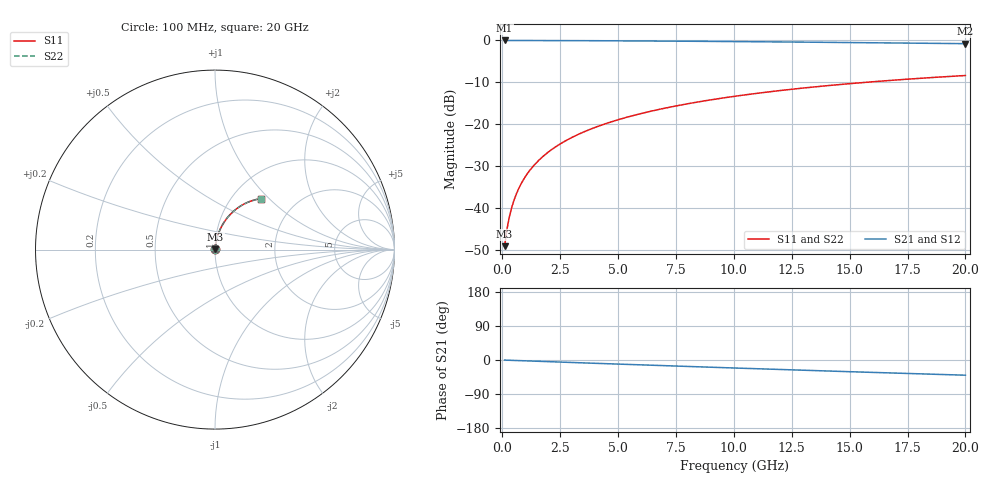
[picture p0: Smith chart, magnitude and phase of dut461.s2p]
! Touchstone file exported from HFSS 2026.1.0
!  File:  C:/ffzhzh/LocalFiles/Ansys_Project_Files/temp_train_BSMRDL_461_1783013486_53980.aedt
!  Generated:  01:32:51 AM Jul  3, 2026
!  Design:  BSMRDL
!  Project:  temp_train_BSMRDL_461_1783013486_53980
! Variables:
!  h_bsmrdl = 5.94um
!  h_ox = 20um
!  h_rdl = 5um
!  h_sub = 80um
!  h_tmrdl = 5um
!  h_tsv = 80um
!  h_via = 3um
!  l_bsmrdl = 592.33um
!  l_sub = 992.33um
!  l_tmrdl = 200um
!  m_sub = 200um
!  pitch = 41.36um
!  r_tsv = 6um
!  s_tmrdl = 10um
!  w_bsmrdl = 14.95um
!  w_sub = 500um
!  w_tmrdl = 12um
!  x_tsv_center1 = 206um
!  x_tsv_center2 = 813.28um
!  x_tsv_center3 = 1025.28um
!  x_tsv_center4 = 1632.56um
!  x_tsv_center5 = 1844.56um
!  x_tsv_center6 = 2451.84um
# GHz S MA R 50.000000
! Terminal data exported
! Port[1] = BSM_RDL1_1_T1
! Port[2] = BSM_RDL1_1_T2
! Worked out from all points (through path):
!   200 points, 100 MHz to 20 GHz, reference 50 ohm
!   highest |S21| = -0.02 dB at 100 MHz (marker M1); lowest = -0.8 dB at 20 GHz (marker M2)
!   group delay of S21, straight-line fit = 5.57 ps
!   lowest |S11| = -49.2 dB at 100 MHz (marker M3), VSWR 1.01, Z = 50.2 + j0.248 ohm
!   |S11| at or under -10 dB: start of sweep to 15.74 GHz
!   |S22| runs from -49.2 to -8.4 dB; largest |S21 - S12| = 2.6e-15
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0.1  0.003482 45.0  0.9975 -0.2  0.9975 -0.2  0.003482 45.0
! Gamma 0 0 0 0
! Port Impedance 50 0 50 0
0.2  0.005503 61.9  0.9974 -0.5  0.9974 -0.5  0.005503 61.9
0.3  0.007693 69.3  0.9973 -0.7  0.9973 -0.7  0.007693 69.3
0.4  0.009932 73.3  0.9972 -0.9  0.9972 -0.9  0.009932 73.3
0.5  0.0122 75.8  0.9972 -1.1  0.9972 -1.1  0.0122 75.8
0.6  0.01448 77.4  0.9971 -1.3  0.9971 -1.3  0.01448 77.4
0.8  0.01907 79.4  0.9969 -1.8  0.9969 -1.8  0.01907 79.4
1.1  0.02598 80.8  0.9966 -2.4  0.9966 -2.4  0.02598 80.8
1.5  0.03519 81.3  0.9961 -3.3  0.9961 -3.3  0.03519 81.3
1.8  0.04206 81.2  0.9956 -4.0  0.9956 -4.0  0.04206 81.2
2.1  0.04889 80.9  0.995 -4.6  0.995 -4.6  0.04889 80.9
2.7  0.06243 80.1  0.9938 -5.9  0.9938 -5.9  0.06243 80.1
3.5  0.08019 78.8  0.9918 -7.6  0.9918 -7.6  0.08019 78.8
4.2  0.09547 77.5  0.9898 -9.1  0.9898 -9.1  0.09547 77.5
5  0.1127 76.0  0.9874 -10.8  0.9874 -10.8  0.1127 76.0
5.9  0.1317 74.3  0.9844 -12.7  0.9844 -12.7  0.1317 74.3
6.8  0.1504 72.6  0.9812 -14.6  0.9812 -14.6  0.1504 72.6
8.3  0.1808 69.8  0.9753 -17.6  0.9753 -17.6  0.1808 69.8
10.1  0.2161 66.3  0.9674 -21.3  0.9674 -21.3  0.2161 66.3
13.4  0.2767 60.1  0.9509 -27.8  0.9509 -27.8  0.2767 60.1
16.7  0.3316 54.1  0.9326 -34.1  0.9326 -34.1  0.3316 54.0
20  0.3804 48.2  0.9134 -40.1  0.9134 -40.1  0.3804 48.2
